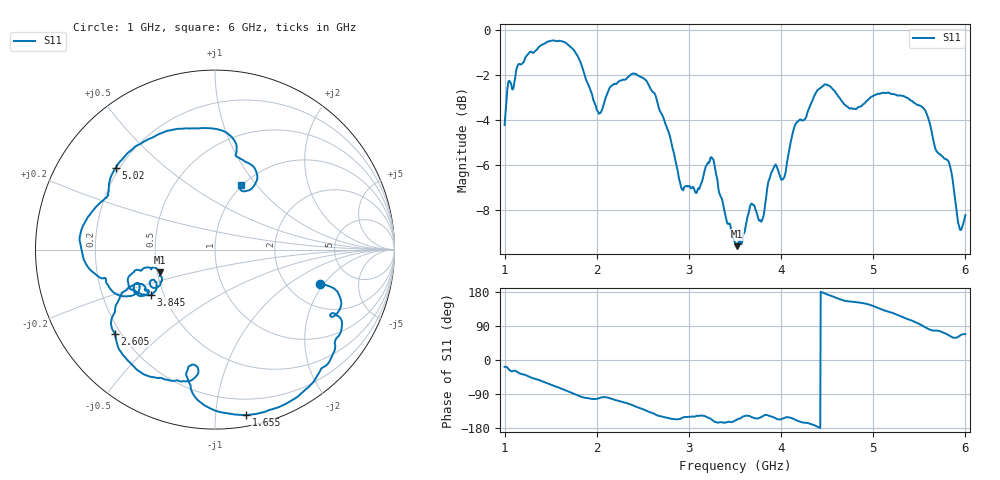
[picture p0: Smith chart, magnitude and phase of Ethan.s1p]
!Agilent Technologies,E8364B,MY43040633,A.07.50.37
!Agilent E8364B: A.07.50.37
!Date: Tuesday, December 16, 2025 17:17:11
!Correction: S11(Full 1 Port(1))
!S1P File: Measurement: S11:
# Hz S  RI  R 50
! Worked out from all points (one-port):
!   1001 points, 1 GHz to 6 GHz, reference 50 ohm
!   lowest |S11| = -9.6 dB at 3.52 GHz (marker M1), VSWR 1.99, Z = 25.8 - j7.36 ohm
!   |S11| at or under -10 dB: nowhere
!   S11 on the Smith chart (normalised r, x): 1 GHz: 2.98, -1.83; 1.655 GHz: 0.08, -1.20; 2.605 GHz: 0.18, -0.35; 3.845 GHz: 0.42, -0.26; 5.02 GHz: 0.19, +0.35; 6 GHz: 0.98, +0.84
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1e9  0.5847 -0.1908
1.045e9  0.7004 -0.3198
1.245e9  0.656 -0.5853
1.625e9  0.221 -0.9163
1.655e9  0.1724 -0.9219
1.85e9  -0.1199 -0.8088
2.015e9  -0.1325 -0.6445
2.095e9  -0.0992 -0.6986
2.25e9  -0.2483 -0.7301
2.4e9  -0.4064 -0.6891
2.605e9  -0.5587 -0.4681
2.875e9  -0.4498 -0.1947
3.1e9  -0.3751 -0.24
3.255e9  -0.4827 -0.1883
3.5e9  -0.3175 -0.1133
3.52e9  -0.3062 -0.1267
3.845e9  -0.3578 -0.2517
3.99e9  -0.4348 -0.1868
4.125e9  -0.5305 -0.2555
4.335e9  -0.6816 -0.125
4.46e9  -0.751 0.0377
4.75e9  -0.6032 0.2892
5.02e9  -0.5527 0.4566
5.375e9  -0.2161 0.672
5.625e9  0.1147 0.5961
5.855e9  0.2354 0.4125
5.935e9  0.1635 0.3248
6e9  0.1441 0.3605
